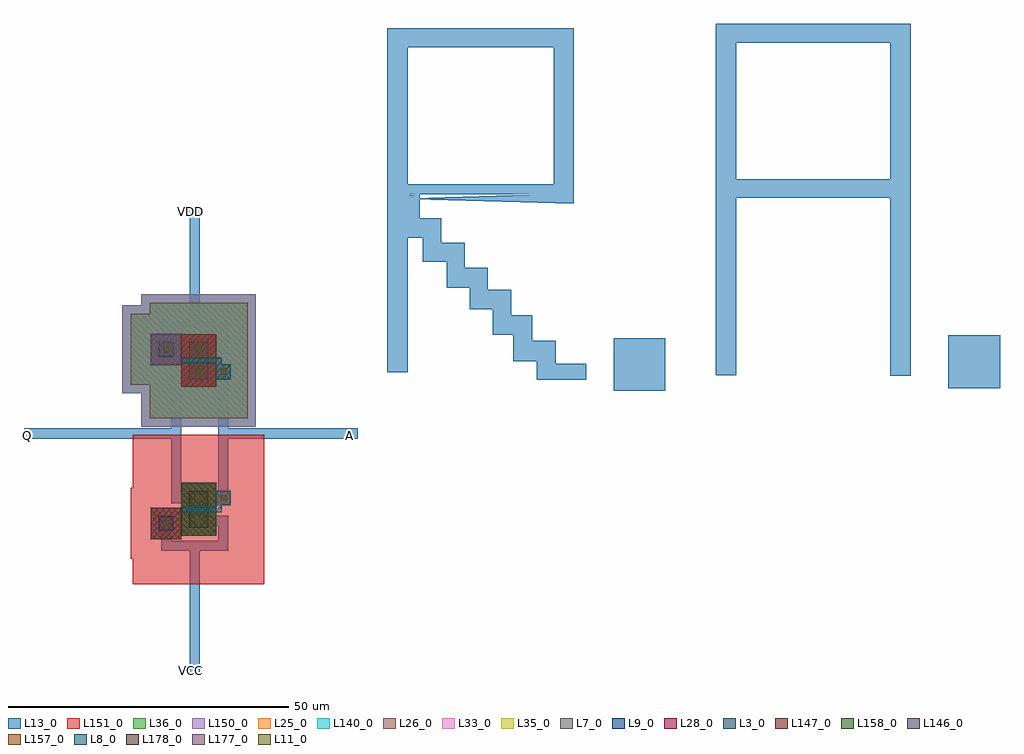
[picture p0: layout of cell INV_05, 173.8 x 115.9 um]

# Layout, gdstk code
from math import pi, radians
import gdstk
lib = gdstk.Library(unit=1e-6, precision=1e-07)
def R(c, l, rs):  # rectangles x0, y0, x1, y1
    for r in rs: c.add(gdstk.rectangle(r[:2], r[2:], *l))
L3_0 = (3, 0)
L7_0 = (7, 0)
L8_0 = (8, 0)
L9_0 = (9, 0)
L11_0 = (11, 0)
L13_0 = (13, 0)
L25_0 = (25, 0)
L26_0 = (26, 0)
L28_0 = (28, 0)
L33_0 = (33, 0)
L35_0 = (35, 0)
L36_0 = (36, 0)
L140_0 = (140, 0)
L146_0 = (146, 0)
L147_0 = (147, 0)
L150_0 = (150, 0)
L151_0 = (151, 0)
L157_0 = (157, 0)
L158_0 = (158, 0)
L177_0 = (177, 0)
L178_0 = (178, 0)

dcont = lib.new_cell('dcont')
R(dcont, L3_0, [(-1.3,-1.3,1.3,1.3)])
R(dcont, L11_0, [(-0.5,-0.5,0.5,0.5)])
R(dcont, L13_0, [(-1.3,-1.3,1.3,1.3), (-0.5,-0.5,0.5,0.5)])

pcont = lib.new_cell('pcont')
R(pcont, L8_0, [(-1.3,-1.3,1.3,1.3)])
R(pcont, L11_0, [(-0.5,-0.5,0.5,0.5)])
R(pcont, L13_0, [(-1.3,-1.3,1.3,1.3), (-0.5,-0.5,0.5,0.5)])

c_dcont = lib.new_cell('DCONT')
R(c_dcont, L3_0, [(-1.3,-1.3,1.3,1.3)])
R(c_dcont, L11_0, [(-0.5,-0.5,0.5,0.5)])
R(c_dcont, L13_0, [(-1.3,-1.3,1.3,1.3), (-0.5,-0.5,0.5,0.5)])

psubcont = lib.new_cell('psubcont')
R(psubcont, L7_0, [(-2.8,-2.7,2.8,2.7)])
R(psubcont, L28_0, [(-2.8,-2.7,2.8,2.7)])
R(psubcont, L33_0, [(-2.8,-2.7,2.8,2.7)])
R(psubcont, L35_0, [(-2.8,-2.7,2.8,2.7)])
R(psubcont, L151_0, [(-6.3,-6.3,6.3,6.3)])
R(psubcont, L178_0, [(-2.8,-2.7,2.8,2.7)])
psubcont.add(gdstk.Reference(c_dcont, (0,0)))

c_mn = lib.new_cell('MN')
R(c_mn, L3_0, [(0,3.6,6.6,7)])
R(c_mn, L9_0, [(-1.4,2.2,8,8.4)])
R(c_mn, L33_0, [(-1.4,2.2,8,8.4)])
R(c_mn, L35_0, [(-1.4,2.2,8,8.4)])
R(c_mn, L147_0, [(-1.4,2.2,8,8.4)])
R(c_mn, L151_0, [(-10,-6.4,16.6,17)])
R(c_mn, L158_0, [(-1.4,2.2,8,8.4)])
c_mn.add(gdstk.FlexPath([(1.3,3.6),(1.3,7)], 2.6, ends="flush", simple_path=True, layer=13, datatype=0))  # L13_0
c_mn.add(gdstk.FlexPath([(5.3,3.6),(5.3,7)], 2.6, ends="flush", simple_path=True, layer=13, datatype=0))  # L13_0
c_mn.add(gdstk.FlexPath([(1.3,1.3),(1.3,4.6)], 1.8, ends="flush", simple_path=True, layer=13, datatype=0))  # L13_0
c_mn.add(gdstk.FlexPath([(5.3,6),(5.3,9.3)], 1.8, ends="flush", simple_path=True, layer=13, datatype=0))  # L13_0
c_mn.add(gdstk.FlexPath([(3.3,3.6),(3.3,7)], 1, ends=(1.2, 1.2), simple_path=True, layer=8, datatype=0))  # L8_0
c_mn.add(gdstk.FlexPath([(1.3,8.9),(3.3,8.9),(3.3,8.2)], 1, ends="flush", simple_path=True, layer=8, datatype=0))  # L8_0
c_mn.add(gdstk.Reference(dcont, (1.3,5.3)))
c_mn.add(gdstk.Reference(dcont, (5.3,5.3)))
c_mn.add(gdstk.Reference(pcont, (1.3,9.7)))
c_mn.add(gdstk.Reference(psubcont, (5.8,-0.5)))

nsubcont = lib.new_cell('nsubcont')
R(nsubcont, L7_0, [(-2.8,-2.7,2.8,2.7)])
R(nsubcont, L9_0, [(-2.8,-2.7,2.8,2.7)])
R(nsubcont, L25_0, [(-6.3,-6.3,6.3,6.3)])
R(nsubcont, L26_0, [(-6.3,-6.3,6.3,6.3)])
R(nsubcont, L33_0, [(-2.8,-2.7,2.8,2.7)])
R(nsubcont, L35_0, [(-2.8,-2.7,2.8,2.7)])
R(nsubcont, L36_0, [(-7.8,-7.8,7.8,7.8)])
R(nsubcont, L140_0, [(-6.3,-6.3,6.3,6.3)])
R(nsubcont, L150_0, [(-7.8,-7.8,7.8,7.8)])
R(nsubcont, L177_0, [(-2.8,-2.7,2.8,2.7)])
nsubcont.add(gdstk.Reference(c_dcont, (0,0)))

mp_1 = lib.new_cell('MP$1')
R(mp_1, L3_0, [(0,3.6,6.6,7)])
R(mp_1, L7_0, [(-1.4,2.2,8,8.4)])
R(mp_1, L25_0, [(-7,-3.4,13.6,14)])
R(mp_1, L26_0, [(-7,-3.4,13.6,14)])
R(mp_1, L28_0, [(-1.4,2.2,8,8.4)])
R(mp_1, L33_0, [(-1.4,2.2,8,8.4)])
R(mp_1, L36_0, [(-8.5,-4.9,15.1,15.5)])
R(mp_1, L140_0, [(-7,-3.4,13.6,14)])
R(mp_1, L146_0, [(-1.4,2.2,8,8.4)])
R(mp_1, L150_0, [(-8.5,-4.9,15.1,15.5)])
R(mp_1, L157_0, [(-1.4,2.2,8,8.4)])
mp_1.add(gdstk.FlexPath([(1.3,3.6),(1.3,7)], 2.6, ends="flush", simple_path=True, layer=13, datatype=0))  # L13_0
mp_1.add(gdstk.FlexPath([(5.3,3.6),(5.3,7)], 2.6, ends="flush", simple_path=True, layer=13, datatype=0))  # L13_0
mp_1.add(gdstk.FlexPath([(1.3,6),(1.3,9.3)], 1.8, ends="flush", simple_path=True, layer=13, datatype=0))  # L13_0
mp_1.add(gdstk.FlexPath([(5.3,1.3),(5.3,4.6)], 1.8, ends="flush", simple_path=True, layer=13, datatype=0))  # L13_0
mp_1.add(gdstk.FlexPath([(3.3,3.6),(3.3,7)], 1, ends=(1.2, 1.2), simple_path=True, layer=8, datatype=0))  # L8_0
mp_1.add(gdstk.FlexPath([(1.3,1.7),(3.3,1.7),(3.3,2.4)], 1, ends="flush", simple_path=True, layer=8, datatype=0))  # L8_0
mp_1.add(gdstk.Reference(dcont, (1.3,5.3)))
mp_1.add(gdstk.Reference(dcont, (5.3,5.3)))
mp_1.add(gdstk.Reference(pcont, (1.3,0.9)))
mp_1.add(gdstk.Reference(nsubcont, (5.3,11.1)))

inv_05 = lib.new_cell('INV_05')
inv_05.add(gdstk.FlexPath([(50.2,-15.1),(50.2,45.3),(81.6,45.3),(81.6,15.8),(50.6,15.8),(54.2,15.8),(54.2,11.4),(58,11.4),(58,7.1),(62.2,7.1),(62.2,2.6),(66.3,2.6),(66.3,-1.3),(70.5,-1.3),(70.5,-5.8),(74.2,-5.8),(74.2,-10.4),(78.4,-10.4),(78.4,-14.5),(82.8,-14.5),(82.8,-14.8)], 1.8, ends="flush", simple_path=True, layer=13, datatype=0))  # L13_0
inv_05.add(gdstk.FlexPath([(52,-15.1),(52,43.7),(79.8,43.7),(79.8,17.8),(79.8,17.5),(52.5,17.5),(52.5,13.7),(52.5,9.8),(56.5,9.8),(56.5,5.5),(60.8,5.5),(60.8,0.9),(64.9,0.9),(64.9,-3),(69,-3),(69,-7.5),(72.6,-7.5),(72.6,-12.2),(76.8,-12.2),(76.8,-15.5),(83.8,-15.5),(83.8,-15.4)], 1.8, ends="flush", simple_path=True, layer=13, datatype=0))  # L13_0
inv_05.add(gdstk.FlexPath([(83.8,-15.8),(83.8,-13.6),(83.8,-13.6)], 1.8, ends="flush", simple_path=True, layer=13, datatype=0))  # L13_0
inv_05.add(gdstk.FlexPath([(90.5,-10.3),(90.5,-17.5),(97.9,-17.5),(97.9,-9.9),(90.6,-9.9),(90.5,-9.9),(90.5,-15.9),(96.2,-15.9),(96.2,-11.5),(92.3,-11.5),(92.3,-14.4),(94.7,-14.4),(94.7,-12.8),(92.9,-12.8),(92.9,-12.8)], 1.8, ends="flush", simple_path=True, layer=13, datatype=0))  # L13_0
inv_05.add(gdstk.FlexPath([(108.7,-15.6),(108.7,46.1),(141.6,46.1),(141.6,-15.7)], 1.8, ends="flush", simple_path=True, layer=13, datatype=0))  # L13_0
inv_05.add(gdstk.FlexPath([(110.5,-15.6),(110.5,44.5)], 1.8, ends="flush", simple_path=True, layer=13, datatype=0))  # L13_0
inv_05.add(gdstk.FlexPath([(109.4,44.5),(139.8,44.5),(139.8,-15.7)], 1.8, ends="flush", simple_path=True, layer=13, datatype=0))  # L13_0
inv_05.add(gdstk.FlexPath([(109.5,18.4),(140.8,18.4)], 1.8, ends="flush", simple_path=True, layer=13, datatype=0))  # L13_0
inv_05.add(gdstk.FlexPath([(109.6,16.9),(139.9,16.9)], 1.8, ends="flush", simple_path=True, layer=13, datatype=0))  # L13_0
inv_05.add(gdstk.FlexPath([(150.1,-9.8),(150.1,-17),(157.5,-17),(157.5,-9.4),(150.2,-9.4),(150.1,-9.4),(150.1,-15.4),(155.8,-15.4),(155.8,-11),(151.9,-11),(151.9,-13.9),(154.3,-13.9),(154.3,-12.3),(152.5,-12.3),(152.5,-12.3)], 1.8, ends="flush", simple_path=True, layer=13, datatype=0))  # L13_0
inv_05.add(gdstk.FlexPath([(20.1,-15),(20.1,-37.5),(20.1,-37.6)], 1.8, ends="flush", simple_path=True, layer=13, datatype=0))  # L13_0
inv_05.add(gdstk.FlexPath([(9.9,-42),(9.9,-46),(20.1,-46),(20.1,-40.6)], 1.8, ends="flush", simple_path=True, layer=13, datatype=0))  # L13_0
inv_05.add(gdstk.FlexPath([(9.9,-11),(9.9,-7.5),(9.9,-7.2),(9.9,-7.1),(19.4,-7.1),(19.8,-7.1),(20,-7.1),(20.1,-7.1),(20.1,-11.9)], 1.8, ends="flush", simple_path=True, layer=13, datatype=0))  # L13_0
inv_05.add(gdstk.FlexPath([(11.7,-14.1),(11.7,-38.4),(11.7,-38.4)], 1.8, ends="flush", simple_path=True, layer=13, datatype=0))  # L13_0
inv_05.add(gdstk.FlexPath([(20.1,-26),(33.5,-26),(33.5,-26)], 1.8, ends="flush", simple_path=True, layer=13, datatype=0))  # L13_0
inv_05.add(gdstk.FlexPath([(11.7,-26),(-3,-26)], 1.8, ends="flush", simple_path=True, layer=13, datatype=0))  # L13_0
inv_05.add(gdstk.FlexPath([(15,-7.1),(15,14.3),(15,14.5)], 1.8, ends="flush", simple_path=True, layer=13, datatype=0))  # L13_0
inv_05.add(gdstk.FlexPath([(15,-46),(15,-68.9)], 1.8, ends="flush", simple_path=True, layer=13, datatype=0))  # L13_0
inv_05.add(gdstk.FlexPath([(33.5,-26),(44,-26)], 1.8, ends="flush", simple_path=True, layer=13, datatype=0))  # L13_0
inv_05.add(gdstk.FlexPath([(-3,-26),(-14.7,-26),(-15.4,-26)], 1.8, ends="flush", simple_path=True, layer=13, datatype=0))  # L13_0
inv_05.add(gdstk.Reference(c_mn, (10.4,-36.2), rotation=3*pi/2))
inv_05.add(gdstk.Reference(mp_1, (21,-16.3), rotation=pi/2))
inv_05.add(gdstk.Label('A', (42.5,-26.4), layer=13, texttype=0))
inv_05.add(gdstk.Label('Q', (-14.8,-26.4), layer=13, texttype=0))
inv_05.add(gdstk.Label('VDD', (14.2,13.5), layer=13, texttype=0))
inv_05.add(gdstk.Label('VCC', (14.3,-68.2), layer=13, texttype=0))

lib.write_gds('INV_05.gds')
